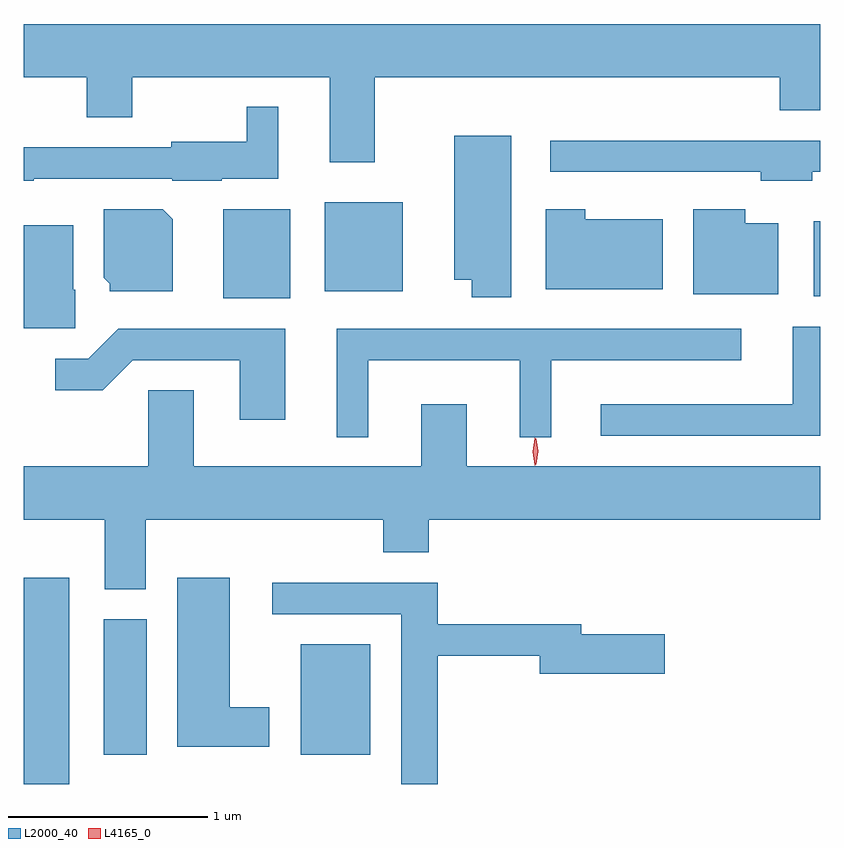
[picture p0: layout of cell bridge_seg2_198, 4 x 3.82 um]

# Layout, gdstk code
import gdstk
lib = gdstk.Library(unit=1e-6, precision=1e-09)
def R(c, l, rs):  # rectangles x0, y0, x1, y1
    for r in rs: c.add(gdstk.rectangle(r[:2], r[2:], *l))
def P(c, l, *ps):  # polygons
    for p in ps: c.add(gdstk.Polygon(p, *l))
L2000_40 = (2000, 40)
L4165_0 = (4165, 0)

bridge_seg2_198 = lib.new_cell('bridge_seg2_198')
R(bridge_seg2_198, L2000_40, [(958.225,984.828,958.454,985.864), (958.626,984.976,958.844,985.654), (959.616,984.976,959.964,985.529), (959.226,987.266,959.564,987.714), (962.191,987.276,962.225,987.654), (959.736,987.301,960.129,987.749)])
P(bridge_seg2_198, L2000_40, [(959.989,988.376),(962.021,988.376),(962.021,988.211),(962.225,988.211),(962.225,988.644),(958.225,988.644),(958.225,988.376),(958.541,988.376),(958.541,988.176),(958.769,988.176),(958.769,988.376),(959.761,988.376),(959.761,987.951),(959.989,987.951)],
  [(958.275,987.866),(958.97,987.866),(958.97,987.856),(959.22,987.856),(959.22,987.866),(959.504,987.866),(959.504,988.228),(959.346,988.228),(959.346,988.054),(958.966,988.054),(958.966,988.024),(958.225,988.024),(958.225,987.856),(958.275,987.856)],
  [(960.674,988.084),(960.386,988.084),(960.386,987.361),(960.476,987.361),(960.476,987.271),(960.674,987.271)],
  [(962.184,987.901),(962.225,987.901),(962.225,988.059),(960.868,988.059),(960.868,987.901),(961.926,987.901),(961.926,987.856),(962.184,987.856)],
  [(961.434,987.664),(961.044,987.664),(961.044,987.714),(960.846,987.714),(960.846,987.311),(961.434,987.311)],
  [(962.014,987.644),(961.849,987.644),(961.849,987.714),(961.586,987.714),(961.586,987.286),(962.014,987.286)],
  [(958.974,987.664),(958.924,987.714),(958.626,987.714),(958.626,987.369),(958.656,987.339),(958.656,987.301),(958.974,987.301)],
  [(958.484,987.31),(958.474,987.31),(958.474,987.634),(958.226,987.634),(958.226,987.116),(958.484,987.116)],
  [(962.225,987.123),(962.086,987.123),(962.086,986.734),(961.123,986.734),(961.123,986.576),(962.225,986.576)],
  [(959.539,987.114),(958.699,987.114),(958.549,986.964),(958.383,986.964),(958.383,986.806),(958.622,986.806),(958.772,986.956),(959.311,986.956),(959.311,986.656),(959.539,986.656)],
  [(959.954,986.956),(960.716,986.956),(960.716,986.568),(960.874,986.568),(960.874,986.956),(961.828,986.956),(961.828,987.114),(959.796,987.114),(959.796,986.568),(959.954,986.568)],
  [(960.221,986.734),(960.221,986.424),(959.079,986.424),(959.079,986.804),(958.851,986.804),(958.851,986.424),(958.225,986.424),(958.225,986.156),(958.631,986.156),(958.631,985.806),(958.839,985.806),(958.839,986.156),(960.031,986.156),(960.031,985.991),(960.259,985.991),(960.259,986.156),(962.225,986.156),(962.225,986.424),(960.449,986.424),(960.449,986.734)],
  [(959.459,985.214),(959.259,985.214),(959.259,985.864),(958.996,985.864),(958.996,985.016),(959.459,985.016)],
  [(960.304,985.471),(960.816,985.471),(960.816,985.381),(961.444,985.381),(961.444,985.579),(961.024,985.579),(961.024,985.629),(960.304,985.629),(960.304,985.839),(959.473,985.839),(959.473,985.681),(960.121,985.681),(960.121,984.828),(960.304,984.828)])
P(bridge_seg2_198, L4165_0, [(960.792,986.428),(960.792,986.429),(960.782,986.497),(960.792,986.565),(960.792,986.566),(960.793,986.565),(960.802,986.497),(960.793,986.429)],
  [(960.797,986.433),(960.788,986.498),(960.797,986.562),(960.798,986.562),(960.798,986.562),(960.808,986.498),(960.798,986.433),(960.798,986.433)])

lib.write_gds('bridge_seg2_198.gds')
